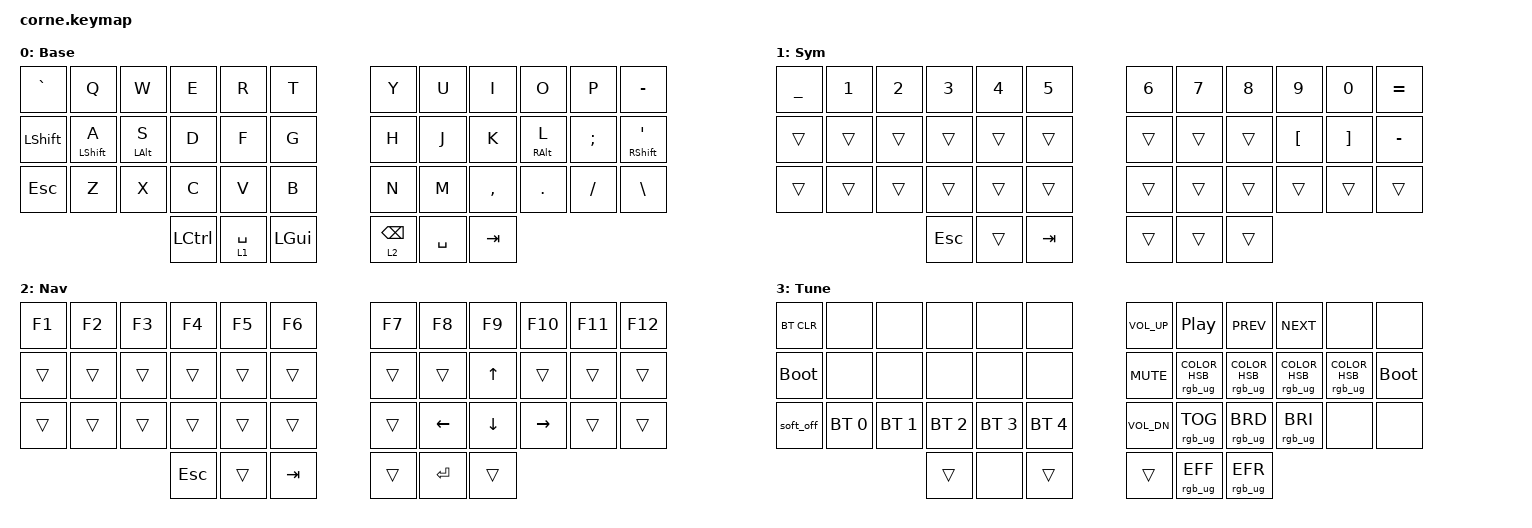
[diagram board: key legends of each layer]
/*
 * Copyright (c) 2020 The ZMK Contributors
 *
 * SPDX-License-Identifier: MIT
 */

#include <behaviors.dtsi>
#include <dt-bindings/zmk/bt.h>
#include <dt-bindings/zmk/keys.h>
#include <dt-bindings/zmk/ext_power.h>
#include <dt-bindings/zmk/rgb.h>

/*
 * Temporarily here because we use the TX pin for LEDs as the standard one is used for CS for the display
 * Source: https://github.com/zmkfirmware/zmk/blob/main/app/boards/shields/corne/boards/nice_nano_v2.overlay
 * GitHub Issue: https://github.com/zmkfirmware/zmk/issues/885
 */

#include <dt-bindings/led/led.h>

&pinctrl {
    spi3_default: spi3_default {
        group1 {
            psels = <NRF_PSEL(SPIM_MOSI, 0, 8)>;
        };
    };

    spi3_sleep: spi3_sleep {
        group1 {
            psels = <NRF_PSEL(SPIM_MOSI, 0, 8)>;
            low-power-enable;
        };
    };
};

&spi3 {
    compatible = "nordic,nrf-spim";
    status = "okay";

    pinctrl-0 = <&spi3_default>;
    pinctrl-1 = <&spi3_sleep>;
    pinctrl-names = "default", "sleep";

    led_strip: ws2812@0 {
        compatible = "worldsemi,ws2812-spi";
        label = "WS2812";

        /* SPI */
        reg = <0>; /* ignored, but necessary for SPI bindings */
        spi-max-frequency = <4000000>;

        /* WS2812 */
        chain-length = <28>;
        spi-one-frame = <0x70>;
        spi-zero-frame = <0x40>;

        color-mapping = <LED_COLOR_ID_GREEN LED_COLOR_ID_RED LED_COLOR_ID_BLUE>;
    };
};

/ {
    chosen {
        zmk,underglow = &led_strip;
    };
};

/* END temporary RGB support section */

&soft_off {
    hold-time-ms = <400>; // Only turn off it the key is held for 0.4 seconds or longer.
    // To help potentially solve for issues where peripheral sometimes do not soft off
};

// https://github.com/urob/zmk-config?tab=readme-ov-file#timeless-homerow-mods
// https://github.com/urob/zmk-helpers/blob/main/include/zmk-helpers/key-labels/42.h

#define KEYS_L 5 4 3 2 1 0 17 16 15 14 13 12 29 28 27 26 25 24    // Left-hand keys.
#define KEYS_R 6 7 8 9 10 11 18 19 20 21 22 23 30 31 32 33 34 35  // Right-hand keys.
#define THUMBS 36 37 38 39 40 41                                  // Thumb keys.
#define TTERM_MS 280
#define QTAP_MS 175
#define RPIM_MS 110

/ {
    behaviors {
        hmr: hmr {
            compatible = "zmk,behavior-hold-tap";
            label = "HMR";
            bindings = <&kp>, <&kp>;

            #binding-cells = <2>;
            tapping-term-ms = <TTERM_MS>;
            quick-tap-ms = <QTAP_MS>;
            require-prior-idle-ms = <RPIM_MS>;
            flavor = "balanced";
            hold-trigger-on-release;
            hold-trigger-key-positions = <KEYS_L THUMBS>;
        };

        hml: hml {
            compatible = "zmk,behavior-hold-tap";
            label = "HML";
            bindings = <&kp>, <&kp>;

            #binding-cells = <2>;
            tapping-term-ms = <TTERM_MS>;
            quick-tap-ms = <QTAP_MS>;
            require-prior-idle-ms = <RPIM_MS>;
            flavor = "balanced";
            hold-trigger-on-release;
            hold-trigger-key-positions = <KEYS_R THUMBS>;
        };
    };

    keymap {
        compatible = "zmk,keymap";

        Base {
            label = "Base";
            bindings = <
&kp GRAVE   &kp Q         &kp W        &kp E       &kp R       &kp T           &kp Y           &kp U     &kp I     &kp O        &kp P     &kp MINUS
&kp LSHFT   &hml LSHFT A  &hml LALT S  &kp D       &kp F       &kp G           &kp H           &kp J     &kp K     &hmr RALT L  &kp SEMI  &hmr RSHFT APOS
&kp ESC     &kp Z         &kp X        &kp C       &kp V       &kp B           &kp N           &kp M     &kp COMMA &kp DOT      &kp SLASH &kp BSLH
                                       &kp LCTRL   &lt 1 SPACE &kp LGUI        &lt 2 BACKSPACE &kp SPACE &kp TAB
            >;
        };

        Sym {
            label = "Sym";
            bindings = <
&kp UNDER &kp N1 &kp N2 &kp N3  &kp N4 &kp N5    &kp N6 &kp N7 &kp N8 &kp N9    &kp N0   &kp EQUAL
&trans    &trans &trans &trans  &trans &trans    &trans &trans &trans  &kp LBKT &kp RBKT &kp MINUS
&trans    &trans &trans &trans  &trans &trans    &trans &trans &trans  &trans   &trans   &trans
                        &kp ESC &trans &kp TAB   &trans &trans &trans
            >;
        };

        Nav {
            label = "Nav";
            bindings = <
&kp F1 &kp F2 &kp F3 &kp F4  &kp F5 &kp F6     &kp F7 &kp F8         &kp F9         &kp F10         &kp F11 &kp F12
&trans &trans &trans &trans  &trans &trans     &trans &trans         &kp UP_ARROW   &trans          &trans  &trans
&trans &trans &trans &trans  &trans &trans     &trans &kp LEFT_ARROW &kp DOWN_ARROW &kp RIGHT_ARROW &trans  &trans
                     &kp ESC &trans &kp TAB    &trans &kp ENTER      &trans
            >;
        };

        Tune {
            label = "Tune";
            bindings = <
&bt BT_CLR  &none         &none         &none         &none         &none            &kp C_VOLUME_UP &kp C_PP                         &kp C_PREV                         &kp C_NEXT                         &none                              &none
&bootloader &none         &none         &none         &none         &none            &kp C_MUTE      &rgb_ug RGB_COLOR_HSB(360,0,100) &rgb_ug RGB_COLOR_HSB(360,100,100) &rgb_ug RGB_COLOR_HSB(128,100,100) &rgb_ug RGB_COLOR_HSB(193,100,100) &bootloader
&soft_off   &bt BT_SEL 0  &bt BT_SEL 1  &bt BT_SEL 2  &bt BT_SEL 3  &bt BT_SEL 4     &kp C_VOL_DN    &rgb_ug RGB_TOG                  &rgb_ug RGB_BRD                    &rgb_ug RGB_BRI                    &none                              &none
                                        &trans        &none         &trans           &trans          &rgb_ug RGB_EFF                  &rgb_ug RGB_EFR
            >;
        };
    };

        conditional_layers {
        compatible = "zmk,conditional-layers";

        raise_lower {
            if-layers = <2 1>;
            then-layer = <3>;
        };
    };
};
